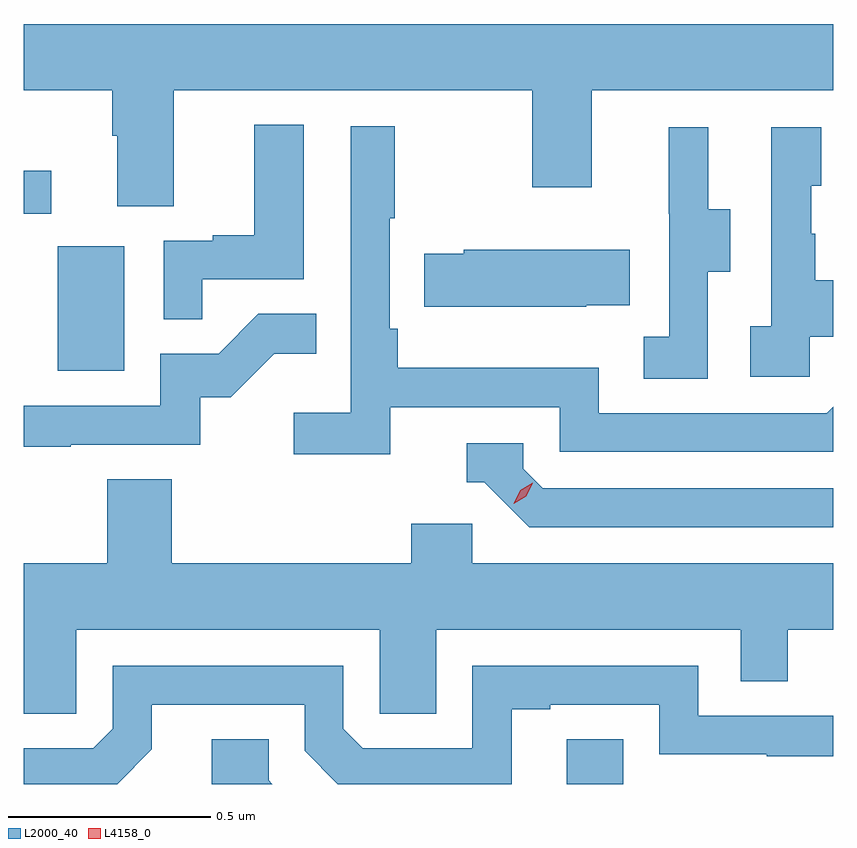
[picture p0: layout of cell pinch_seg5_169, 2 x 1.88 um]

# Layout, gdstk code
import gdstk
lib = gdstk.Library(unit=1e-6, precision=1e-09)
def R(c, l, rs):  # rectangles x0, y0, x1, y1
    for r in rs: c.add(gdstk.rectangle(r[:2], r[2:], *l))
def P(c, l, *ps):  # polygons
    for p in ps: c.add(gdstk.Polygon(p, *l))
L2000_40 = (2000, 40)
L4158_0 = (4158, 0)

pinch_seg5_169 = lib.new_cell('pinch_seg5_169')
R(pinch_seg5_169, L2000_40, [(1101.863,876.359,1102.003,876.47), (1100.606,877.38,1100.77,877.687), (1100.522,877.767,1100.59,877.873)])
P(pinch_seg5_169, L2000_40, [(1100.893,878.072),(1101.778,878.072),(1101.778,877.833),(1101.925,877.833),(1101.925,878.072),(1102.522,878.072),(1102.522,878.236),(1100.522,878.236),(1100.522,878.072),(1100.741,878.072),(1100.741,877.96),(1100.753,877.96),(1100.753,877.786),(1100.893,877.786)],
  [(1100.963,877.605),(1101.214,877.605),(1101.214,877.987),(1101.092,877.987),(1101.092,877.714),(1100.989,877.714),(1100.989,877.701),(1100.868,877.701),(1100.868,877.507),(1100.963,877.507)],
  [(1101.428,877.29),(1101.846,877.29),(1101.846,877.179),(1102.522,877.179),(1102.522,877.291),(1102.506,877.275),(1101.942,877.275),(1101.942,877.387),(1101.446,877.387),(1101.446,877.483),(1101.426,877.483),(1101.426,877.756),(1101.439,877.756),(1101.439,877.984),(1101.33,877.984),(1101.33,877.276),(1101.189,877.276),(1101.189,877.174),(1101.428,877.174)],
  [(1102.212,877.624),(1102.267,877.624),(1102.267,877.779),(1102.213,877.779),(1102.213,877.981),(1102.115,877.981),(1102.115,877.767),(1102.116,877.767),(1102.116,877.463),(1102.053,877.463),(1102.053,877.36),(1102.212,877.36)],
  [(1102.464,877.463),(1102.522,877.463),(1102.522,877.603),(1102.477,877.603),(1102.477,877.718),(1102.467,877.718),(1102.467,877.836),(1102.492,877.836),(1102.492,877.981),(1102.368,877.981),(1102.368,877.49),(1102.317,877.49),(1102.317,877.365),(1102.464,877.365)],
  [(1101.911,877.541),(1102.019,877.541),(1102.019,877.678),(1101.609,877.678),(1101.609,877.668),(1101.511,877.668),(1101.511,877.538),(1101.911,877.538)],
  [(1100.639,877.197),(1100.958,877.197),(1100.958,877.314),(1101.034,877.314),(1101.141,877.421),(1101.245,877.421),(1101.245,877.52),(1101.102,877.52),(1101.004,877.422),(1100.859,877.422),(1100.859,877.293),(1100.522,877.293),(1100.522,877.192),(1100.639,877.192)],
  [(1102.522,877.089),(1101.804,877.089),(1101.756,877.137),(1101.756,877.2),(1101.617,877.2),(1101.617,877.104),(1101.66,877.104),(1101.771,876.993),(1102.522,876.993)],
  [(1100.652,876.74),(1101.402,876.74),(1101.402,876.532),(1101.541,876.532),(1101.541,876.74),(1102.293,876.74),(1102.293,876.613),(1102.409,876.613),(1102.409,876.74),(1102.522,876.74),(1102.522,876.904),(1101.63,876.904),(1101.63,877.002),(1101.479,877.002),(1101.479,876.904),(1100.888,876.904),(1100.888,877.112),(1100.728,877.112),(1100.728,876.904),(1100.522,876.904),(1100.522,876.532),(1100.652,876.532)],
  [(1100.839,876.445),(1100.839,876.555),(1101.216,876.555),(1101.216,876.441),(1101.298,876.359),(1101.727,876.359),(1101.727,876.543),(1101.823,876.543),(1101.823,876.555),(1102.092,876.555),(1102.092,876.432),(1102.357,876.432),(1102.357,876.427),(1102.522,876.427),(1102.522,876.528),(1102.188,876.528),(1102.188,876.651),(1101.63,876.651),(1101.63,876.447),(1101.36,876.447),(1101.312,876.495),(1101.312,876.651),(1100.742,876.651),(1100.742,876.495),(1100.694,876.447),(1100.522,876.447),(1100.522,876.359),(1100.753,876.359)],
  [(1101.127,876.368),(1101.127,876.47),(1100.987,876.47),(1100.987,876.359),(1101.136,876.359)])
P(pinch_seg5_169, L4158_0, [(1101.732,877.051),(1101.732,877.051),(1101.749,877.084),(1101.78,877.103),(1101.78,877.103),(1101.78,877.102),(1101.764,877.07),(1101.733,877.051)])

lib.write_gds('pinch_seg5_169.gds')
